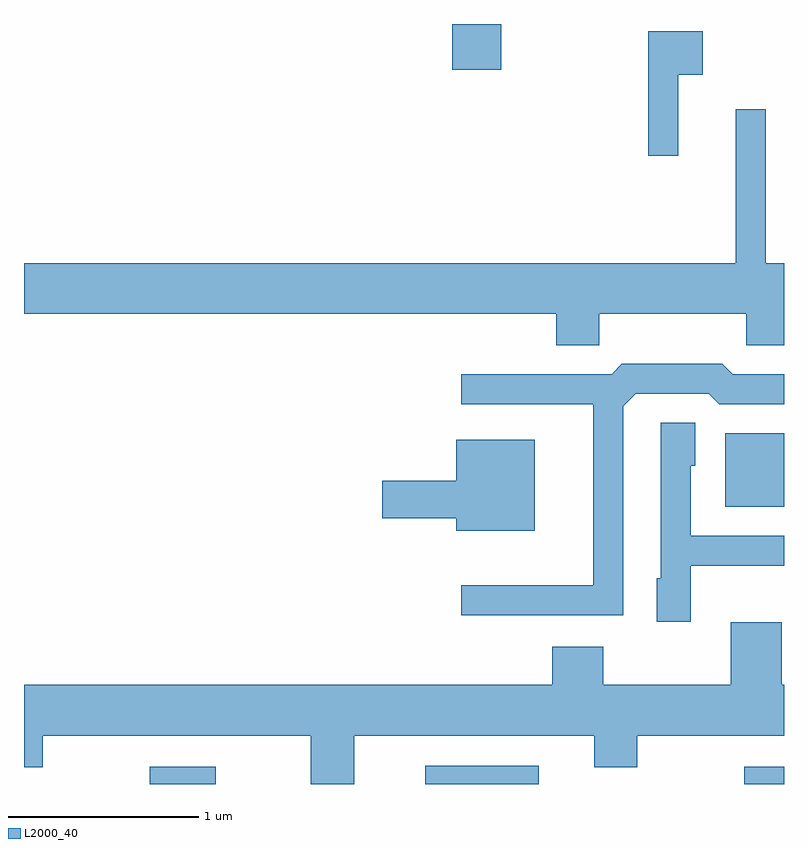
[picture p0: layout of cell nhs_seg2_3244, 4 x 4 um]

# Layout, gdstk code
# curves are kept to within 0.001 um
import gdstk
lib = gdstk.Library(unit=1e-6, precision=1e-09)
def R(c, l, rs):  # rectangles x0, y0, x1, y1
    for r in rs: c.add(gdstk.rectangle(r[:2], r[2:], *l))
def P(c, l, *ps):  # polygons
    for p in ps: c.add(gdstk.Polygon(p, *l))
L2000_40 = (2000, 40)

nhs_seg2_3244 = lib.new_cell('nhs_seg2_3244')
R(nhs_seg2_3244, L2000_40, [(280.273,1085.802,280.619,1085.894), (281.723,1085.802,282.319,1085.899), (283.403,1085.802,283.611,1085.894), (283.301,1087.261,283.611,1087.649), (281.866,1089.561,282.124,1089.802)])
P(nhs_seg2_3244, L2000_40, [(283.054,1089.536),(283.184,1089.536),(283.184,1089.764),(282.896,1089.764),(282.896,1089.108),(283.054,1089.108)],
  [(282.639,1088.276),(283.411,1088.276),(283.411,1088.111),(283.611,1088.111),(283.611,1088.544),(283.514,1088.544),(283.514,1089.353),(283.356,1089.353),(283.356,1088.544),(279.611,1088.544),(279.611,1088.276),(282.411,1088.276),(282.411,1088.111),(282.639,1088.111)],
  [(282.764,1087.789),(282.832,1087.856),(283.214,1087.856),(283.269,1087.801),(283.611,1087.801),(283.611,1087.959),(283.342,1087.959),(283.287,1088.014),(282.759,1088.014),(282.704,1087.959),(281.913,1087.959),(281.913,1087.801),(282.606,1087.801),(282.606,1086.849),(281.913,1086.849),(281.913,1086.691),(282.764,1086.691)],
  [(283.119,1086.951),(283.611,1086.951),(283.611,1087.109),(283.119,1087.109),(283.119,1087.476),(283.144,1087.476),(283.144,1087.704),(282.961,1087.704),(282.961,1086.884),(282.941,1086.884),(282.941,1086.656),(283.119,1086.656)],
  [(282.299,1087.614),(281.886,1087.614),(281.886,1087.399),(281.496,1087.399),(281.496,1087.201),(281.886,1087.201),(281.886,1087.136),(282.299,1087.136)],
  [(281.349,1086.056),(282.611,1086.056),(282.611,1085.891),(282.839,1085.891),(282.839,1086.056),(283.611,1086.056),(283.611,1086.324),(283.599,1086.324),(283.599,1086.654),(283.331,1086.654),(283.331,1086.324),(282.659,1086.324),(282.659,1086.524),(282.391,1086.524),(282.391,1086.324),(279.611,1086.324),(279.611,1085.891),(279.709,1085.891),(279.709,1086.056),(281.121,1086.056),(281.121,1085.802),(281.349,1085.802)])

lib.write_gds('nhs_seg2_3244.gds')
